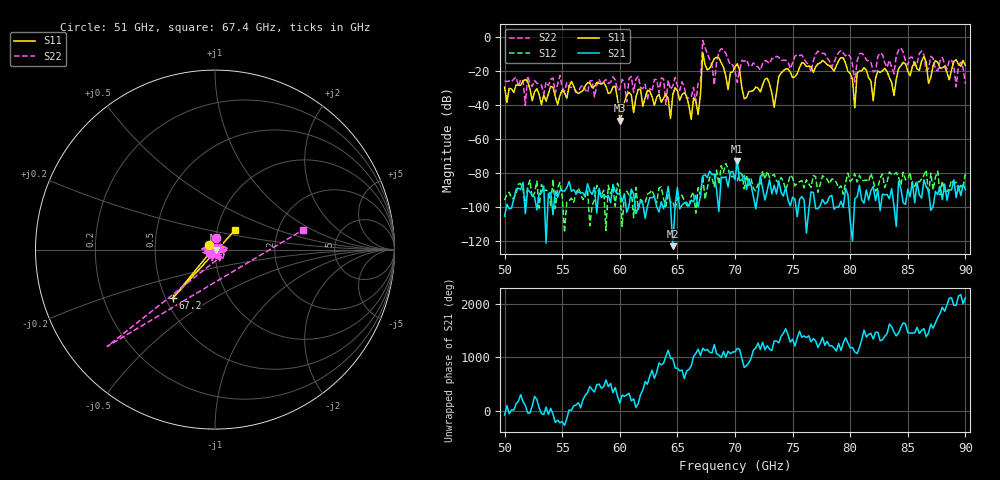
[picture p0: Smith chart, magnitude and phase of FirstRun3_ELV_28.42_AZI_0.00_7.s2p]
! 11/24/2026 3:30:32 PM
! C:\ANRITSUVNA\TEMP\TEMP.S2P
! CHANNEL.1
! TR.MEASUREMENT
! RAW.DATA
# HZ S RI R 50.0
! FREQ.HZ  S11RE  S11IM  S21RE  S21IM  S12RE  S12IM  S22RE  S22IM
!; PortSelection: Port_12
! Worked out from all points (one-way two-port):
!   201 points, 50 GHz to 90 GHz, reference 50 ohm
!   highest |S21| = -72.89 dB at 70.2 GHz (marker M1); lowest = -122.8 dB at 64.6 GHz (marker M2)
!   lowest |S11| = -48.9 dB at 60 GHz (marker M3), VSWR 1.01, Z = 50.3 - j0.159 ohm
!   |S11| at or under -10 dB: start of sweep to 67.19 GHz; 67.23 GHz to end of sweep
!   |S22| runs from -40.0 to -1.9 dB; largest |S21 - S12| = 0.00022
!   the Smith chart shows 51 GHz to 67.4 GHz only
!   S11 on the Smith chart (normalised r, x): 51 GHz: 0.94, +0.05; 67.2 GHz: 0.54, -0.34; 67.4 GHz: 1.22, +0.27
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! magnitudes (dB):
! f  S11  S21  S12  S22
! 50 GHz  -29.3  -105.1  -95.7  -25.6
! 51 GHz  -28.0  -89.3  -91.8  -23.4
! 56.8 GHz  -31.4  -91.4  -95.4  -28.1
! 59.6 GHz  -28.8  -90.3  -99.3  -25.0
! 60 GHz  -48.9  -91.8  -89.4  -30.5
! 63.4 GHz  -33.4  -102.7  -88.7  -32.6
! 64.6 GHz  -33.7  -122.8  -96.4  -28.5
! 66.8 GHz  -45.3  -99.7  -88.4  -26.5
! 67.2 GHz  -8.9  -81.6  -81.2  -1.9
! 67.4 GHz  -16.1  -80.8  -95.3  -5.9
! 68.2 GHz  -12.5  -80.5  -87.9  -28.0
! 68.8 GHz  -14.8  -82.1  -75.4  -6.7
! 70 GHz  -17.4  -83.6  -82.9  -19.9
! 70.2 GHz  -15.5  -72.9  -84.4  -26.5
! 73.4 GHz  -41.2  -87.0  -80.6  -12.6
! 74.2 GHz  -19.7  -93.3  -84.7  -13.5
! 76.8 GHz  -20.6  -91.1  -81.2  -13.6
! 79.4 GHz  -12.2  -100.0  -92.2  -9.4
! 80.4 GHz  -41.4  -94.8  -80.2  -26.3
! 80.6 GHz  -21.0  -93.8  -85.1  -14.0
! 83.4 GHz  -23.7  -94.9  -79.2  -13.5
! 90 GHz  -16.5  -89.5  -79.7  -27.3
